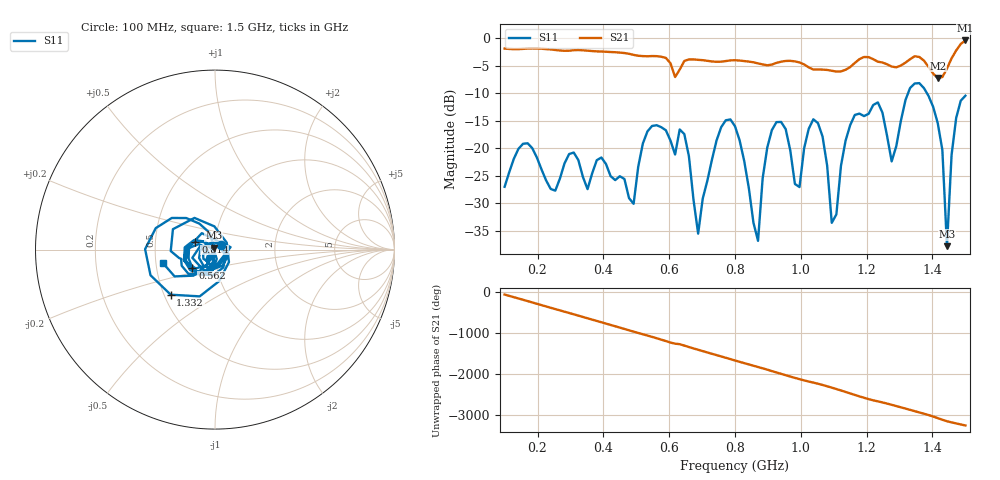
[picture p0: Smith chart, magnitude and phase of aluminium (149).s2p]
! NanoVNA-App
! Date: 2025-09-25 14:56:26
! Start: 100MHz Stop: 1,5GHz Points: 101
! S-Parameter data: F S11 S21 S12 S22
# Hz S RI R 50
!  Frequency  S11_Real  S11_Imag  S21_Real  S21_Imag  S12_Real  S12_Imag  S22_Real  S22_Imag
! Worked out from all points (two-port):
!   101 points, 100 MHz to 1.5 GHz, reference 50 ohm
!   highest |S21| = -0.45 dB at 1.5 GHz (marker M1); lowest = -7.3 dB at 1.416 GHz (marker M2)
!   |S21| within 3 dB of the highest: start of sweep to 579.1 MHz; 1.461 GHz to end of sweep (the widest 2 of 3)
!   lowest |S11| = -37.8 dB at 1.444 GHz (marker M3), VSWR 1.03, Z = 49.3 + j1.09 ohm
!   |S11| at or under -10 dB: start of sweep to 1.326 GHz; 1.383 GHz to end of sweep
!   S12 and S22 are empty: the file has one direction only
!   S11 on the Smith chart (normalised r, x): 100 MHz: 1.07, +0.06; 562 MHz: 0.76, -0.16; 814 MHz: 0.80, +0.07; 1.332 GHz: 0.54, -0.31; 1.5 GHz: 0.55, -0.09
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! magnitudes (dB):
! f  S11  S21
! 100 MHz  -27.0  -1.9
! 338 MHz  -25.2  -2.2
! 492 MHz  -30.1  -3.1
! 562 MHz  -15.8  -3.3
! 576 MHz  -16.2  -3.4
! 646 MHz  -17.4  -4.2
! 688 MHz  -35.5  -4.0
! 800 MHz  -16.0  -4.0
! 814 MHz  -18.6  -4.1
! 870 MHz  -36.8  -4.6
! 912 MHz  -16.7  -4.8
! 996 MHz  -27.0  -4.4
! 1.038 GHz  -14.8  -5.7
! 1.094 GHz  -33.5  -5.9
! 1.164 GHz  -14.0  -4.5
! 1.234 GHz  -11.7  -4.3
! 1.276 GHz  -22.4  -5.2
! 1.332 GHz  -9.1  -3.8
! 1.416 GHz  -15.4  -7.3
! 1.444 GHz  -37.8  -5.5
! 1.458 GHz  -21.2  -3.7
! 1.5 GHz  -10.5  -0.4
